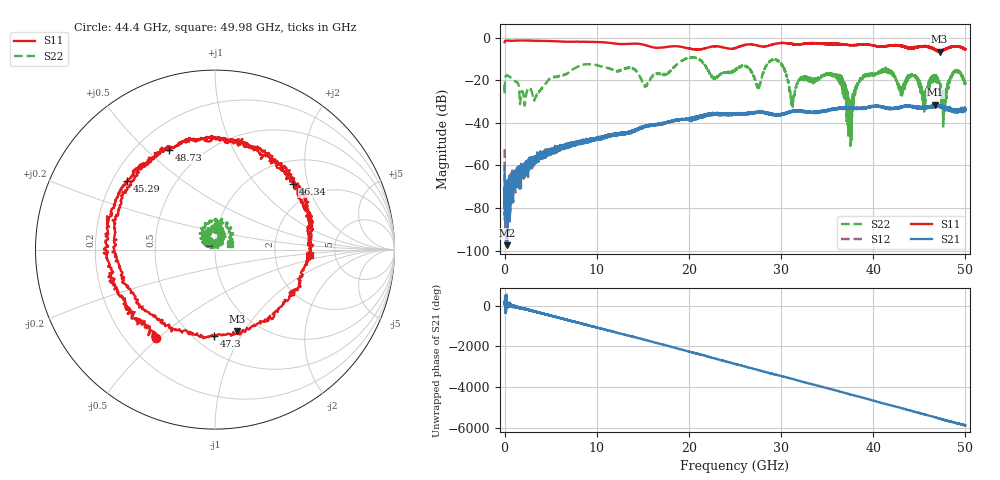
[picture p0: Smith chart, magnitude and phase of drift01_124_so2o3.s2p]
!Created with skrf (http://scikit-rf.org).
# Hz S RI R 50.0
!freq ReS11 ImS11 ReS21 ImS21 ReS12 ImS12 ReS22 ImS22
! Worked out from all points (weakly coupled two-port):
!   10001 points, 300 kHz to 50 GHz, reference 50 ohm
!   highest |S21| = -31.46 dB at 46.74 GHz (marker M1); lowest = -97.6 dB at 280.3 MHz (marker M2)
!   lowest |S11| = -6.6 dB at 47.2 GHz (marker M3), VSWR 2.77, Z = 40.2 - j46.6 ohm
!   |S11| at or under -10 dB: nowhere
!   |S22| runs from -50.9 to -9.2 dB; largest |S21 - S12| = 0.0036
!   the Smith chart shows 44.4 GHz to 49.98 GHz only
!   S11 on the Smith chart (normalised r, x): 44.4 GHz: 0.32, -0.49; 45.29 GHz: 0.26, +0.32; 46.34 GHz: 1.50, +1.62; 47.3 GHz: 0.62, -0.78; 48.73 GHz: 0.33, +0.59; 49.98 GHz: 3.25, -0.26
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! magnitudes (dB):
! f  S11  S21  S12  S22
! 300 kHz  -2.1  -60.3  -52.4  -22.1
! 280.3 MHz  -1.4  -97.6  -74.9  -17.7
! 3.29 GHz  -1.5  -58.3  -56.8  -28.8
! 8.335 GHz  -1.9  -48.6  -48.6  -12.9
! 16.67 GHz  -4.8  -40.9  -40.8  -16.6
! 25 GHz  -5.0  -36.1  -36.0  -15.5
! 29.58 GHz  -2.8  -36.1  -36.2  -10.6
! 31.24 GHz  -2.9  -34.9  -34.4  -31.7
! 33.34 GHz  -2.6  -35.1  -35.0  -20.0
! 36.2 GHz  -2.9  -33.4  -33.2  -19.2
! 37.47 GHz  -3.6  -33.1  -33.1  -38.5
! 38.65 GHz  -3.3  -33.2  -33.3  -20.1
! 41.67 GHz  -3.9  -33.0  -33.2  -15.8
! 44.4 GHz  -4.6  -32.5  -32.4  -17.5
! 45.29 GHz  -4.1  -32.8  -32.8  -26.0
! 46.34 GHz  -4.9  -32.8  -32.4  -19.5
! 46.74 GHz  -5.8  -31.5  -32.1  -19.6
! 47.2 GHz  -6.6  -32.0  -32.4  -22.8
! 47.3 GHz  -6.3  -32.5  -32.5  -22.6
! 48.73 GHz  -4.3  -35.0  -33.8  -16.2
! 49.98 GHz  -5.5  -33.1  -33.7  -21.1
! 50 GHz  -5.5  -33.7  -34.1  -21.3
